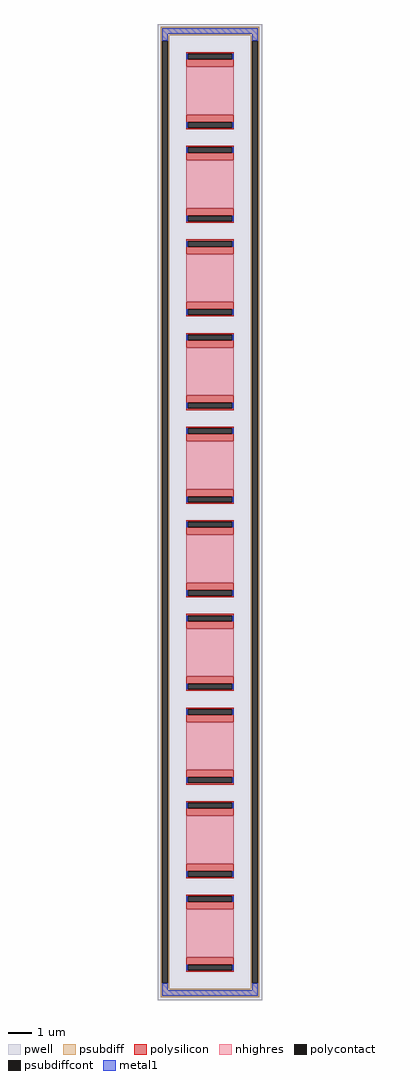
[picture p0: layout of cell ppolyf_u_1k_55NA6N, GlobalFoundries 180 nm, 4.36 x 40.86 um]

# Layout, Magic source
magic
tech gf180mcuD
magscale 1 10
<< pwell >>
rect -436 -4086 436 4086
<< psubdiff >>
rect -412 3990 412 4062
rect -412 3946 -340 3990
rect -412 -3946 -399 3946
rect -353 -3946 -340 3946
rect 340 3946 412 3990
rect -412 -3990 -340 -3946
rect 340 -3946 353 3946
rect 399 -3946 412 3946
rect 340 -3990 412 -3946
rect -412 -4062 412 -3990
<< psubdiffcont >>
rect -399 -3946 -353 3946
rect 353 -3946 399 3946
<< polysilicon >>
rect -200 3837 200 3850
rect -200 3791 -187 3837
rect 187 3791 200 3837
rect -200 3728 200 3791
rect -200 3265 200 3328
rect -200 3219 -187 3265
rect 187 3219 200 3265
rect -200 3206 200 3219
rect -200 3053 200 3066
rect -200 3007 -187 3053
rect 187 3007 200 3053
rect -200 2944 200 3007
rect -200 2481 200 2544
rect -200 2435 -187 2481
rect 187 2435 200 2481
rect -200 2422 200 2435
rect -200 2269 200 2282
rect -200 2223 -187 2269
rect 187 2223 200 2269
rect -200 2160 200 2223
rect -200 1697 200 1760
rect -200 1651 -187 1697
rect 187 1651 200 1697
rect -200 1638 200 1651
rect -200 1485 200 1498
rect -200 1439 -187 1485
rect 187 1439 200 1485
rect -200 1376 200 1439
rect -200 913 200 976
rect -200 867 -187 913
rect 187 867 200 913
rect -200 854 200 867
rect -200 701 200 714
rect -200 655 -187 701
rect 187 655 200 701
rect -200 592 200 655
rect -200 129 200 192
rect -200 83 -187 129
rect 187 83 200 129
rect -200 70 200 83
rect -200 -83 200 -70
rect -200 -129 -187 -83
rect 187 -129 200 -83
rect -200 -192 200 -129
rect -200 -655 200 -592
rect -200 -701 -187 -655
rect 187 -701 200 -655
rect -200 -714 200 -701
rect -200 -867 200 -854
rect -200 -913 -187 -867
rect 187 -913 200 -867
rect -200 -976 200 -913
rect -200 -1439 200 -1376
rect -200 -1485 -187 -1439
rect 187 -1485 200 -1439
rect -200 -1498 200 -1485
rect -200 -1651 200 -1638
rect -200 -1697 -187 -1651
rect 187 -1697 200 -1651
rect -200 -1760 200 -1697
rect -200 -2223 200 -2160
rect -200 -2269 -187 -2223
rect 187 -2269 200 -2223
rect -200 -2282 200 -2269
rect -200 -2435 200 -2422
rect -200 -2481 -187 -2435
rect 187 -2481 200 -2435
rect -200 -2544 200 -2481
rect -200 -3007 200 -2944
rect -200 -3053 -187 -3007
rect 187 -3053 200 -3007
rect -200 -3066 200 -3053
rect -200 -3219 200 -3206
rect -200 -3265 -187 -3219
rect 187 -3265 200 -3219
rect -200 -3328 200 -3265
rect -200 -3791 200 -3728
rect -200 -3837 -187 -3791
rect 187 -3837 200 -3791
rect -200 -3850 200 -3837
<< polycontact >>
rect -187 3791 187 3837
rect -187 3219 187 3265
rect -187 3007 187 3053
rect -187 2435 187 2481
rect -187 2223 187 2269
rect -187 1651 187 1697
rect -187 1439 187 1485
rect -187 867 187 913
rect -187 655 187 701
rect -187 83 187 129
rect -187 -129 187 -83
rect -187 -701 187 -655
rect -187 -913 187 -867
rect -187 -1485 187 -1439
rect -187 -1697 187 -1651
rect -187 -2269 187 -2223
rect -187 -2481 187 -2435
rect -187 -3053 187 -3007
rect -187 -3265 187 -3219
rect -187 -3837 187 -3791
<< nhighres >>
rect -200 3328 200 3728
rect -200 2544 200 2944
rect -200 1760 200 2160
rect -200 976 200 1376
rect -200 192 200 592
rect -200 -592 200 -192
rect -200 -1376 200 -976
rect -200 -2160 200 -1760
rect -200 -2944 200 -2544
rect -200 -3728 200 -3328
<< metal1 >>
rect -399 4003 399 4049
rect -399 3946 -353 4003
rect 353 3946 399 4003
rect -198 3791 -187 3837
rect 187 3791 198 3837
rect -198 3219 -187 3265
rect 187 3219 198 3265
rect -198 3007 -187 3053
rect 187 3007 198 3053
rect -198 2435 -187 2481
rect 187 2435 198 2481
rect -198 2223 -187 2269
rect 187 2223 198 2269
rect -198 1651 -187 1697
rect 187 1651 198 1697
rect -198 1439 -187 1485
rect 187 1439 198 1485
rect -198 867 -187 913
rect 187 867 198 913
rect -198 655 -187 701
rect 187 655 198 701
rect -198 83 -187 129
rect 187 83 198 129
rect -198 -129 -187 -83
rect 187 -129 198 -83
rect -198 -701 -187 -655
rect 187 -701 198 -655
rect -198 -913 -187 -867
rect 187 -913 198 -867
rect -198 -1485 -187 -1439
rect 187 -1485 198 -1439
rect -198 -1697 -187 -1651
rect 187 -1697 198 -1651
rect -198 -2269 -187 -2223
rect 187 -2269 198 -2223
rect -198 -2481 -187 -2435
rect 187 -2481 198 -2435
rect -198 -3053 -187 -3007
rect 187 -3053 198 -3007
rect -198 -3265 -187 -3219
rect 187 -3265 198 -3219
rect -198 -3837 -187 -3791
rect 187 -3837 198 -3791
rect -399 -4003 -353 -3946
rect 353 -4003 399 -3946
rect -399 -4049 399 -4003
<< properties >>
string FIXED_BBOX -376 -4026 376 4026
string gencell ppolyf_u_1k
string library gf180mcu
string parameters w 2.0 l 2.0 m 10 nx 1 wmin 1.000 lmin 1.000 class resistor rho 1000 val 1.0k dummy 0 dw 0.0 term 0.0 sterm 0.0 caplen 0.4 snake 1 glc 1 grc 1 gtc 0 gbc 0 roverlap 0 endcov 100 full_metal 1 compatible {ppolyf_u_1k ppolyf_u_1k_6p0}
<< end >>
